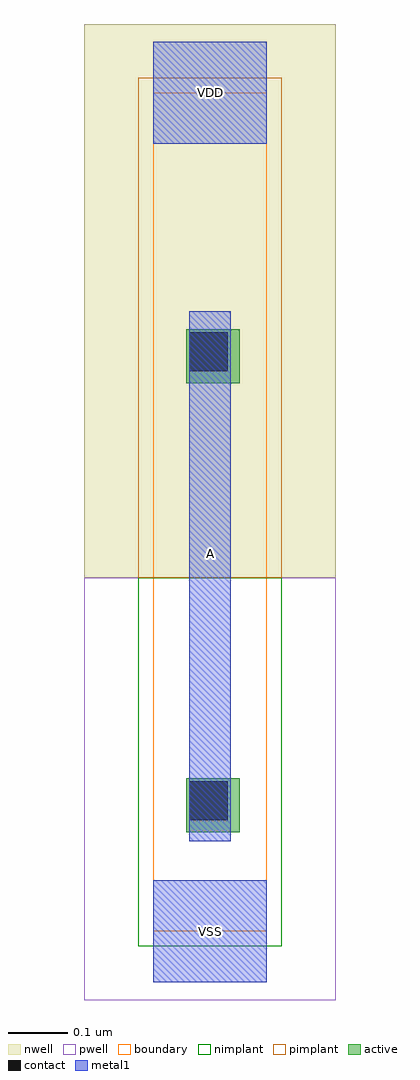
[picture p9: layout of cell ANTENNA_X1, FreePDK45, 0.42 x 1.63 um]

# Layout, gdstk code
import gdstk
lib = gdstk.Library(unit=1e-6, precision=1e-10)
def R(c, l, rs):  # rectangles x0, y0, x1, y1
    for r in rs: c.add(gdstk.rectangle(r[:2], r[2:], *l))
active = (1, 0)
pwell = (2, 0)
nwell = (3, 0)
nimplant = (4, 0)
pimplant = (5, 0)
contact = (10, 0)
metal1 = (11, 0)
boundary = (235, 0)

antenna_x1 = lib.new_cell('ANTENNA_X1')
R(antenna_x1, active, [(0.055,0.165,0.145,0.255), (0.055,0.915,0.145,1.005)])
R(antenna_x1, pwell, [(-0.115,-0.115,0.305,0.59)])
R(antenna_x1, nwell, [(-0.115,0.59,0.305,1.515)])
R(antenna_x1, nimplant, [(-0.025,-0.025,0.215,0.59)])
R(antenna_x1, pimplant, [(-0.025,0.59,0.215,1.425)])
R(antenna_x1, contact, [(0.06,0.185,0.125,0.25), (0.06,0.935,0.125,1)])
R(antenna_x1, metal1, [(0,-0.085,0.19,0.085), (0.06,0.15,0.13,1.035), (0,1.315,0.19,1.485)])
R(antenna_x1, boundary, [(0,0,0.19,1.4)])
antenna_x1.add(gdstk.Label('A', (0.095,0.63), layer=11, texttype=0))
antenna_x1.add(gdstk.Label('VDD', (0.095,1.4), layer=11, texttype=0))
antenna_x1.add(gdstk.Label('VSS', (0.095,0), layer=11, texttype=0))

lib.write_gds('ANTENNA_X1.gds')
